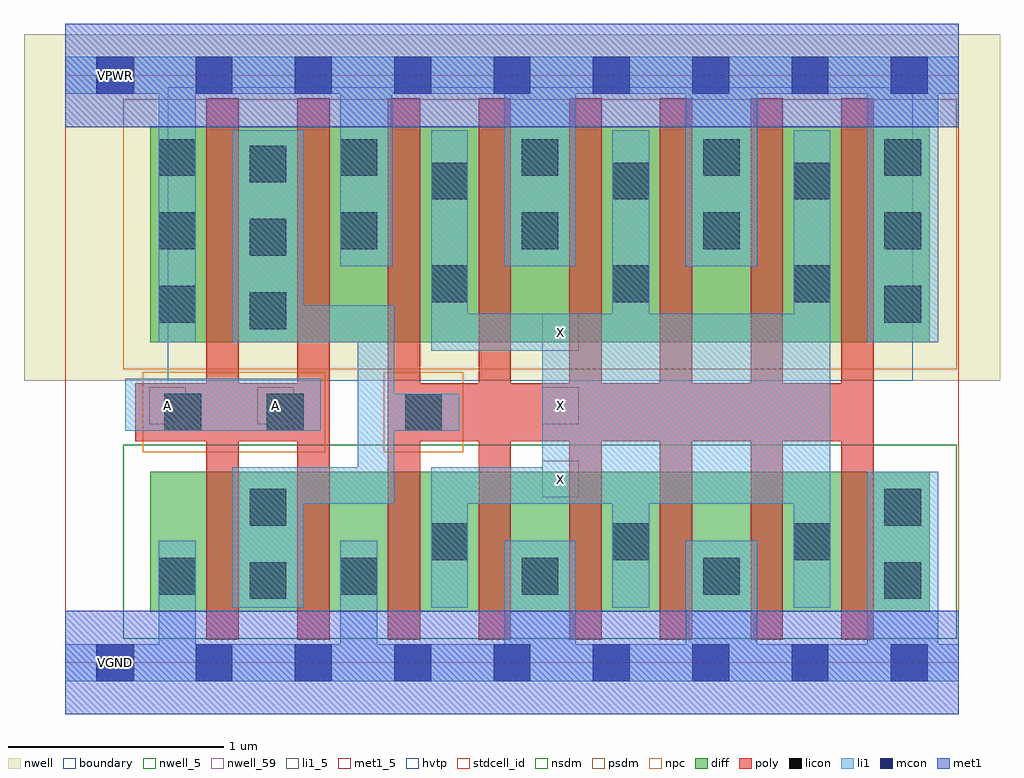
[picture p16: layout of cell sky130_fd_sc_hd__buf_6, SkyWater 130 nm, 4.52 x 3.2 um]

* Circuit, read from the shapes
.subckt sky130_fd_sc_hd__buf_6 A VGND VNB VPB VPWR X
XM1 n1 A VGND VNB sky130_fd_pr__nfet_01v8 w=0.65 l=0.15 m=2
XM2 X n1 VGND VNB sky130_fd_pr__nfet_01v8 w=0.65 l=0.15 m=6
XM3 n1 A VPWR VPB sky130_fd_pr__pfet_01v8_hvt w=1 l=0.15 m=2
XM4 X n1 VPWR VPB sky130_fd_pr__pfet_01v8_hvt w=1 l=0.15 m=6
.ends

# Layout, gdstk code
import gdstk
lib = gdstk.Library(unit=1e-6, precision=1e-09)
def R(c, l, rs):  # rectangles x0, y0, x1, y1
    for r in rs: c.add(gdstk.rectangle(r[:2], r[2:], *l))
def A(c, l, x, y, w, h, nx, ny, dx, dy):  # array of equal rectangles
    R(c, l, [(x+i*dx, y+j*dy, x+i*dx+w, y+j*dy+h) for i in range(nx) for j in range(ny)])
nwell_5 = (64, 5)
nwell = (64, 20)
nwell_59 = (64, 59)
diff = (65, 20)
poly = (66, 20)
licon = (66, 44)
li1_5 = (67, 5)
li1 = (67, 20)
mcon = (67, 44)
met1_5 = (68, 5)
met1 = (68, 20)
hvtp = (78, 44)
stdcell_id = (81, 4)
nsdm = (93, 44)
psdm = (94, 20)
npc = (95, 20)
boundary = (235, 4)

sky130_fd_sc_hd__buf_6 = lib.new_cell('sky130_fd_sc_hd__buf_6')
R(sky130_fd_sc_hd__buf_6, nwell_5, [(0.15,2.635,0.32,2.805)])
R(sky130_fd_sc_hd__buf_6, nwell, [(-0.19,1.305,4.33,2.91)])
R(sky130_fd_sc_hd__buf_6, nwell_59, [(0.15,-0.085,0.32,0.085)])
R(sky130_fd_sc_hd__buf_6, diff, [(0.395,0.235,4.005,0.885), (0.395,1.485,4.005,2.485)])
A(sky130_fd_sc_hd__buf_6, poly, 0.655, 0.105, 0.15, 0.92, 8, 1, 0.42, 0)
A(sky130_fd_sc_hd__buf_6, poly, 0.655, 1.295, 0.15, 1.32, 8, 1, 0.42, 0)
R(sky130_fd_sc_hd__buf_6, poly, [(0.325,1.025,1.225,1.295), (1.495,1.025,3.745,1.295)])
A(sky130_fd_sc_hd__buf_6, licon, 0.435, 0.315, 0.17, 0.17, 4, 1, 0.84, 0)
A(sky130_fd_sc_hd__buf_6, licon, 1.695, 0.475, 0.17, 0.17, 3, 2, 0.84, 1.195)
A(sky130_fd_sc_hd__buf_6, licon, 0.855, 1.545, 0.17, 0.17, 1, 3, 0, 0.34)
A(sky130_fd_sc_hd__buf_6, licon, 0.435, 1.915, 0.17, 0.17, 5, 2, 0.84, 0.34)
A(sky130_fd_sc_hd__buf_6, licon, 1.695, 2.145, 0.17, 0.17, 3, 1, 0.84, 0)
R(sky130_fd_sc_hd__buf_6, licon, [(0.855,0.295,1.025,0.465), (3.795,0.295,3.965,0.465), (0.855,0.635,1.025,0.805), (3.795,0.635,3.965,0.805), (0.46,1.075,0.63,1.245), (0.935,1.075,1.105,1.245), (1.575,1.075,1.745,1.245), (0.435,1.575,0.605,1.745), (3.795,1.575,3.965,1.745)])
A(sky130_fd_sc_hd__buf_6, li1_5, 2.21, 0.765, 0.17, 0.17, 1, 3, 0, 0.34)
R(sky130_fd_sc_hd__buf_6, li1_5, [(0.15,-0.085,0.32,0.085), (0.39,1.105,0.56,1.275), (0.89,1.105,1.06,1.275), (0.15,2.635,0.32,2.805)])
A(sky130_fd_sc_hd__buf_6, li1, 1.695, 0.255, 0.17, 0.48, 3, 1, 0.84, 0)
A(sky130_fd_sc_hd__buf_6, li1, 1.695, 1.615, 0.17, 0.85, 3, 1, 0.84, 0)
R(sky130_fd_sc_hd__buf_6, li1, [(0,-0.085,4.14,0.085), (0.435,0.085,0.605,0.565), (1.275,0.085,1.445,0.565), (2.035,0.085,2.365,0.565), (2.875,0.085,3.205,0.565), (3.715,0.085,4.045,0.885), (0.775,0.255,1.105,0.735), (0.775,0.735,1.525,0.905), (1.695,0.735,3.545,0.905), (1.355,0.905,1.525,1.075), (2.21,0.905,3.545,1.445), (0.28,1.075,1.185,1.315), (1.355,1.075,1.825,1.245), (1.355,1.245,1.525,1.485), (1.695,1.445,3.545,1.615), (0.435,1.485,0.605,2.635), (0.775,1.485,1.525,1.655), (3.715,1.485,4.045,2.635), (0.775,1.655,1.105,2.465), (1.275,1.835,1.515,2.635), (2.035,1.835,2.365,2.635), (2.875,1.835,3.205,2.635), (0,2.635,4.14,2.805)])
A(sky130_fd_sc_hd__buf_6, mcon, 0.145, -0.085, 0.17, 0.17, 9, 2, 0.46, 2.72)
R(sky130_fd_sc_hd__buf_6, met1_5, [(0.15,-0.085,0.32,0.085), (0.15,2.635,0.32,2.805)])
R(sky130_fd_sc_hd__buf_6, met1, [(0,-0.24,4.14,0.24), (0,2.48,4.14,2.96)])
R(sky130_fd_sc_hd__buf_6, hvtp, [(0.475,1.305,3.925,2.665)])
R(sky130_fd_sc_hd__buf_6, stdcell_id, [(0,0,4.14,2.72)])
R(sky130_fd_sc_hd__buf_6, nsdm, [(0.27,0.11,4.13,1.01)])
R(sky130_fd_sc_hd__buf_6, psdm, [(0.27,1.36,4.13,2.61)])
R(sky130_fd_sc_hd__buf_6, npc, [(0.36,0.975,1.205,1.345), (1.475,0.975,1.845,1.345)])
R(sky130_fd_sc_hd__buf_6, boundary, [(0,0,4.14,2.72)])
sky130_fd_sc_hd__buf_6.add(gdstk.Label('VPWR', (0.235,2.72), layer=68, texttype=5))
sky130_fd_sc_hd__buf_6.add(gdstk.Label('VGND', (0.235,0), layer=68, texttype=5))
sky130_fd_sc_hd__buf_6.add(gdstk.Label('X', (2.295,1.19), layer=67, texttype=5))
sky130_fd_sc_hd__buf_6.add(gdstk.Label('X', (2.295,1.53), layer=67, texttype=5))
sky130_fd_sc_hd__buf_6.add(gdstk.Label('X', (2.295,0.85), layer=67, texttype=5))
sky130_fd_sc_hd__buf_6.add(gdstk.Label('VPWR', (0.235,2.72), layer=67, texttype=5))
sky130_fd_sc_hd__buf_6.add(gdstk.Label('VGND', (0.235,0), layer=67, texttype=5))
sky130_fd_sc_hd__buf_6.add(gdstk.Label('A', (0.975,1.19), layer=67, texttype=5))
sky130_fd_sc_hd__buf_6.add(gdstk.Label('A', (0.475,1.19), layer=67, texttype=5))
sky130_fd_sc_hd__buf_6.add(gdstk.Label('VPB', (0.235,2.72), layer=64, texttype=5))
sky130_fd_sc_hd__buf_6.add(gdstk.Label('VNB', (0.235,0), layer=64, texttype=59))

lib.write_gds('sky130_fd_sc_hd__buf_6.gds')
